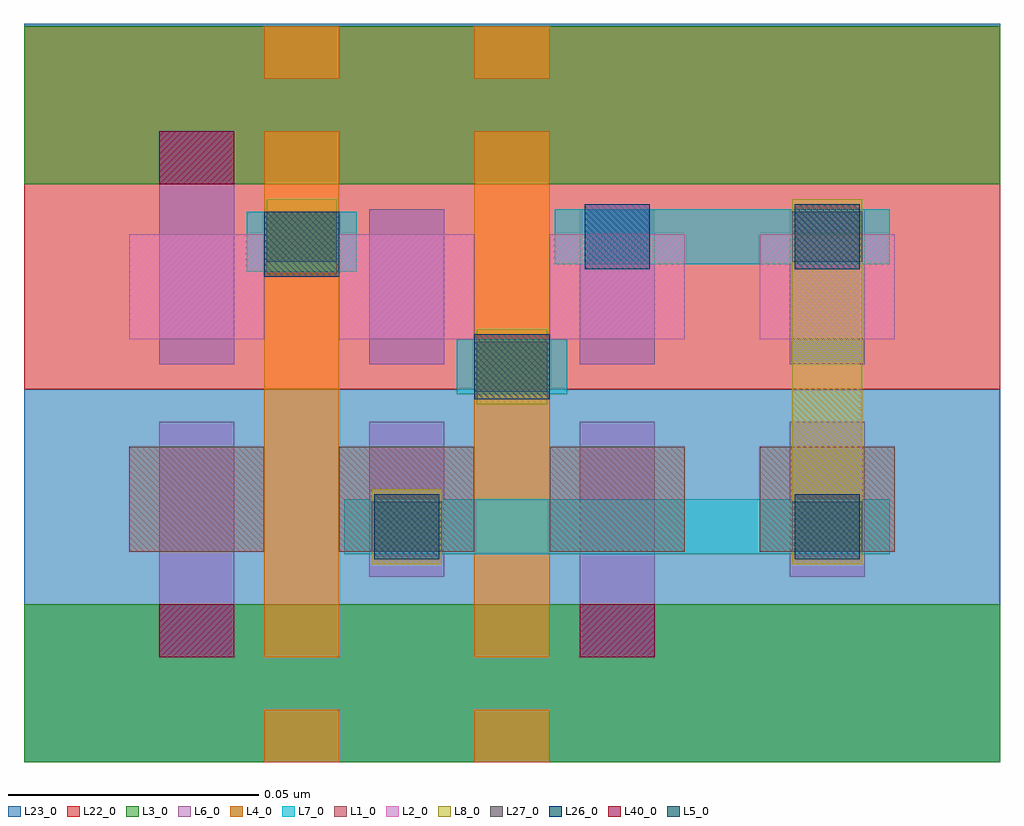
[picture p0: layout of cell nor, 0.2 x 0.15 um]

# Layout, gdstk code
import gdstk
lib = gdstk.Library(unit=1e-6, precision=2.5e-10)
def R(c, l, rs):  # rectangles x0, y0, x1, y1
    for r in rs: c.add(gdstk.rectangle(r[:2], r[2:], *l))
def A(c, l, x, y, w, h, nx, ny, dx, dy):  # array of equal rectangles
    R(c, l, [(x+i*dx, y+j*dy, x+i*dx+w, y+j*dy+h) for i in range(nx) for j in range(ny)])
L1_0 = (1, 0)
L2_0 = (2, 0)
L3_0 = (3, 0)
L4_0 = (4, 0)
L5_0 = (5, 0)
L6_0 = (6, 0)
L7_0 = (7, 0)
L8_0 = (8, 0)
L22_0 = (22, 0)
L23_0 = (23, 0)
L26_0 = (26, 0)
L27_0 = (27, 0)
L40_0 = (40, 0)

nor = lib.new_cell('nor')
A(nor, L1_0, 0.178, 0.0425, 0.027, 0.021, 4, 1, 0.042, 0)
A(nor, L2_0, 0.178, 0.085, 0.027, 0.021, 4, 1, 0.042, 0)
R(nor, L3_0, [(0.157,0.0005,0.352,0.032), (0.157,0.116,0.352,0.1475)])
R(nor, L4_0, [(0.205,0.0005,0.22,0.011), (0.247,0.0005,0.262,0.011), (0.205,0.0215,0.22,0.1265), (0.247,0.0215,0.262,0.1265), (0.205,0.137,0.22,0.1475), (0.247,0.137,0.262,0.1475)])
R(nor, L5_0, [(0.247,0.073,0.262,0.086), (0.205,0.0975,0.22,0.1105)])
A(nor, L6_0, 0.226, 0.08, 0.015, 0.031, 3, 1, 0.042, 0)
R(nor, L6_0, [(0.184,0.0215,0.199,0.0685), (0.268,0.0215,0.283,0.0685), (0.226,0.0375,0.241,0.0685), (0.31,0.0375,0.325,0.0685), (0.184,0.08,0.199,0.1265)])
R(nor, L7_0, [(0.221,0.042,0.33,0.053), (0.2435,0.074,0.2655,0.085), (0.2015,0.0985,0.2235,0.1105), (0.263,0.1,0.33,0.111)])
R(nor, L8_0, [(0.2265,0.04,0.2405,0.055), (0.3105,0.04,0.3245,0.113), (0.2475,0.072,0.2615,0.087), (0.2055,0.098,0.2195,0.113)])
R(nor, L22_0, [(0.157,0.075,0.352,0.1475)])
R(nor, L23_0, [(0.157,0.0005,0.352,0.075), (0.157,0.1475,0.352,0.148)])
R(nor, L26_0, [(0.227,0.041,0.24,0.054), (0.311,0.041,0.324,0.054), (0.269,0.099,0.282,0.112), (0.311,0.099,0.324,0.112)])
R(nor, L27_0, [(0.2265,0.0425,0.2405,0.0525), (0.3105,0.0425,0.3245,0.0525), (0.2475,0.0745,0.2615,0.0845), (0.2055,0.1005,0.2195,0.1105), (0.3105,0.1005,0.3245,0.1105)])
R(nor, L40_0, [(0.184,0.0215,0.199,0.032), (0.268,0.0215,0.283,0.032), (0.184,0.116,0.199,0.1265)])

lib.write_gds('nor.gds')
